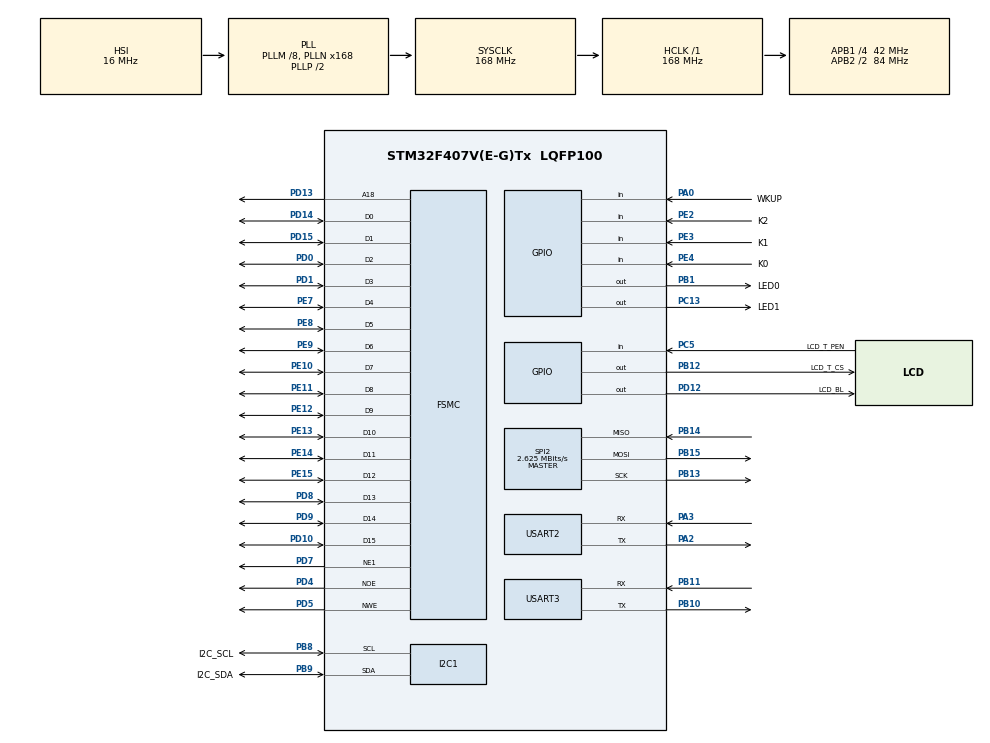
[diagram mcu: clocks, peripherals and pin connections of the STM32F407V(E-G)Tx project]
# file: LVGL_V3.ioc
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FSMC.AddressSetupTime1=15
FSMC.BusTurnAroundDuration1=0
FSMC.DataSetupTime1=60
FSMC.ExtendedAddressSetupTime1=9
FSMC.ExtendedBusTurnAroundDuration1=0
FSMC.ExtendedDataSetupTime1=8
FSMC.ExtendedMode1=FSMC_EXTENDED_MODE_ENABLE
Mcu.Family=STM32F4
Mcu.Name=STM32F407V(E-G)Tx
Mcu.Package=LQFP100
NVIC.PriorityGroup=NVIC_PRIORITYGROUP_4
NVIC.TIM6_DAC_IRQn=true\:0\:0\:false\:false\:true\:true\:true
NVIC.USART2_IRQn=true\:1\:0\:true\:false\:true\:true\:true
PA0-WKUP.GPIO_Label=WKUP
PA0-WKUP.GPIO_PuPd=GPIO_PULLDOWN
PA0-WKUP.Signal=GPIO_Input
PA13.Mode=Serial_Wire
PA13.Signal=SYS_JTMS-SWDIO
PA14.Mode=Serial_Wire
PA14.Signal=SYS_JTCK-SWCLK
PA2.Mode=Asynchronous
PA2.Signal=USART2_TX
PA3.Mode=Asynchronous
PA3.Signal=USART2_RX
PB1.GPIO_Label=LED0
PB1.GPIO_PuPd=GPIO_PULLUP
PB1.GPIO_Speed=GPIO_SPEED_FREQ_HIGH
PB1.Signal=GPIO_Output
PB10.Mode=Asynchronous
PB10.Signal=USART3_TX
PB11.Mode=Asynchronous
PB11.Signal=USART3_RX
PB12.GPIO_Label=LCD_T_CS
PB12.GPIO_PuPd=GPIO_PULLUP
PB12.GPIO_Speed=GPIO_SPEED_FREQ_HIGH
PB12.PinState=GPIO_PIN_SET
PB12.Signal=GPIO_Output
PB13.GPIO_PuPd=GPIO_PULLUP
PB13.Mode=Full_Duplex_Master
PB13.Signal=SPI2_SCK
PB14.GPIO_PuPd=GPIO_PULLUP
PB14.Mode=Full_Duplex_Master
PB14.Signal=SPI2_MISO
PB15.GPIO_PuPd=GPIO_PULLUP
PB15.Mode=Full_Duplex_Master
PB15.Signal=SPI2_MOSI
PB8.GPIO_Label=I2C_SCL
PB8.GPIO_Pu=GPIO_PULLUP
PB8.Mode=I2C
PB8.Signal=I2C1_SCL
PB9.GPIO_Label=I2C_SDA
PB9.GPIO_Pu=GPIO_PULLUP
PB9.Mode=I2C
PB9.Signal=I2C1_SDA
PC13-ANTI_TAMP.GPIO_Label=LED1
PC13-ANTI_TAMP.GPIO_PuPd=GPIO_PULLUP
PC13-ANTI_TAMP.Signal=GPIO_Output
PC14-OSC32_IN.Mode=LSE-External-Oscillator
PC14-OSC32_IN.Signal=RCC_OSC32_IN
PC15-OSC32_OUT.Mode=LSE-External-Oscillator
PC15-OSC32_OUT.Signal=RCC_OSC32_OUT
PC5.GPIO_Label=LCD_T_PEN
PC5.GPIO_PuPd=GPIO_PULLUP
PC5.Signal=GPIO_Input
PD0.Mode=16b-d1
PD0.Signal=FSMC_D2
PD1.Mode=16b-d1
PD1.Signal=FSMC_D3
PD10.Mode=16b-d1
PD10.Signal=FSMC_D15
PD12.GPIO_Label=LCD_BL
PD12.Signal=GPIO_Output
PD13.Mode=A18_1
PD13.Signal=FSMC_A18
PD14.Mode=16b-d1
PD14.Signal=FSMC_D0
PD15.Mode=16b-d1
PD15.Signal=FSMC_D1
PD4.Mode=Lcd1
PD4.Signal=FSMC_NOE
PD5.Mode=Lcd1
PD5.Signal=FSMC_NWE
PD7.Mode=NorPsramChipSelect1_1
PD7.Signal=FSMC_NE1
PD8.Mode=16b-d1
PD8.Signal=FSMC_D13
PD9.Mode=16b-d1
PD9.Signal=FSMC_D14
PE10.Mode=16b-d1
PE10.Signal=FSMC_D7
PE11.Mode=16b-d1
PE11.Signal=FSMC_D8
PE12.Mode=16b-d1
PE12.Signal=FSMC_D9
PE13.Mode=16b-d1
PE13.Signal=FSMC_D10
PE14.Mode=16b-d1
PE14.Signal=FSMC_D11
PE15.Mode=16b-d1
PE15.Signal=FSMC_D12
PE2.GPIO_Label=K2
PE2.GPIO_PuPd=GPIO_PULLUP
PE2.Signal=GPIO_Input
PE3.GPIO_Label=K1
PE3.GPIO_PuPd=GPIO_PULLUP
PE3.Signal=GPIO_Input
PE4.GPIO_Label=K0
PE4.GPIO_PuPd=GPIO_PULLUP
PE4.Signal=GPIO_Input
PE7.Mode=16b-d1
PE7.Signal=FSMC_D4
PE8.Mode=16b-d1
PE8.Signal=FSMC_D5
PE9.Mode=16b-d1
PE9.Signal=FSMC_D6
PH0-OSC_IN.Mode=HSE-External-Oscillator
PH0-OSC_IN.Signal=RCC_OSC_IN
PH1-OSC_OUT.Mode=HSE-External-Oscillator
PH1-OSC_OUT.Signal=RCC_OSC_OUT
ProjectManager.HeapSize=0x1000
ProjectManager.StackSize=0x1000
ProjectManager.TargetToolchain=MDK-ARM V5
RCC.48MHZClocksFreq_Value=84000000
RCC.AHBFreq_Value=168000000
RCC.APB1CLKDivider=RCC_HCLK_DIV4
RCC.APB1Freq_Value=42000000
RCC.APB1TimFreq_Value=84000000
RCC.APB2CLKDivider=RCC_HCLK_DIV2
RCC.APB2Freq_Value=84000000
RCC.APB2TimFreq_Value=168000000
RCC.CortexFreq_Value=168000000
RCC.HCLKFreq_Value=168000000
RCC.HSE_VALUE=25000000
RCC.HSI_VALUE=16000000
RCC.PLLM=8
RCC.PLLN=168
RCC.RCC_RTC_Clock_Source=RCC_RTCCLKSOURCE_LSE
RCC.SYSCLKFreq_VALUE=168000000
RCC.SYSCLKSource=RCC_SYSCLKSOURCE_PLLCLK
RCC.VCOOutputFreq_Value=336000000
RTC.Date=15
RTC.Format=RTC_FORMAT_BIN
RTC.Hours=18
RTC.Minutes=20
RTC.Month=RTC_MONTH_JULY
RTC.WeekDay=RTC_WEEKDAY_TUESDAY
RTC.Year=25
SPI2.BaudRatePrescaler=SPI_BAUDRATEPRESCALER_16
SPI2.CalculateBaudRate=2.625 MBits/s
SPI2.Direction=SPI_DIRECTION_2LINES
SPI2.Mode=SPI_MODE_MASTER
SPI2.VirtualType=VM_MASTER
TIM6.AutoReloadPreload=TIM_AUTORELOAD_PRELOAD_ENABLE
TIM6.Period=1000-1
TIM6.Prescaler=84
USART2.VirtualMode=VM_ASYNC
USART3.VirtualMode=VM_ASYNC
VP_RTC_VS_RTC_Activate.Mode=RTC_Enabled
VP_RTC_VS_RTC_Calendar.Mode=RTC_Calendar
VP_TIM6_VS_ClockSourceINT.Mode=Enable_Timer
board=custom

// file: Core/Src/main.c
/* USER CODE BEGIN Header */
/**
  ******************************************************************************
  * @file           : main.c
  * @brief          : Main program body
  ******************************************************************************
  * @attention
  *
  * Copyright (c) 2025 STMicroelectronics.
  * All rights reserved.
  *
  * This software is licensed under terms that can be found in the LICENSE file
  * in the root directory of this software component.
  * If no LICENSE file comes with this software, it is provided AS-IS.
  *
  ******************************************************************************
  */
/* USER CODE END Header */
#include "main.h"
#include "i2c.h"
#include "rtc.h"
#include "spi.h"
#include "tim.h"
#include "usart.h"
#include "gpio.h"
#include "fsmc.h"

/* USER CODE BEGIN Includes */
#include "stdio.h"
#include "lcd.h"
#include "touch.h"

#include "esp.h"
#include "gui_guider.h"          // Gui Guider 生成的界面和控件的声明
#include "events_init.h"         // Gui Guider 生成的初始化事件、回调函数
lv_ui  guider_ui;                // 声明 界面对象
/* USER CODE END Includes */

void SystemClock_Config(void);

/* USER CODE BEGIN 0 */
void Set_RTC_DateTime(uint8_t hours, uint8_t mins, uint8_t secs,
                     uint16_t year, uint8_t month, uint8_t day, uint8_t weekday)
{
    RTC_TimeTypeDef sTime = {0};
    RTC_DateTypeDef sDate = {0};

    // 禁用备份域写保护
    HAL_PWR_EnableBkUpAccess();

    // 设置时间
    sTime.Hours = hours;
    sTime.Minutes = mins;
    sTime.Seconds = secs;
    sTime.TimeFormat = RTC_HOURFORMAT_24;
    sTime.DayLightSaving = RTC_DAYLIGHTSAVING_NONE;
    sTime.StoreOperation = RTC_STOREOPERATION_RESET;

    if (HAL_RTC_SetTime(&hrtc, &sTime, RTC_FORMAT_BIN) != HAL_OK) {
        Error_Handler();
    }

    // 设置日期
    sDate.Year = year - 2000;
    sDate.Month = month;
    sDate.Date = day;
		weekday = weekday == 0 ? 7 : weekday;
    sDate.WeekDay = weekday;  // 自动计算

    if (HAL_RTC_SetDate(&hrtc, &sDate, RTC_FORMAT_BIN) != HAL_OK) {
        Error_Handler();
    }

    // 重新启用写保护
    HAL_PWR_DisableBkUpAccess();
}

// 获取并打印当前RTC时间和日期
void Print_RTC_DateTime(void)
{
    RTC_TimeTypeDef sTime = {0};
    RTC_DateTypeDef sDate = {0};
    char *weekday[] = {"", "Monday", "Tuesday", "Wednesday", "Thursday", "Friday", "Saturday", "Sunday"};

    // 获取时间
    HAL_RTC_GetTime(&hrtc, &sTime, RTC_FORMAT_BIN);
    // 获取日期
    HAL_RTC_GetDate(&hrtc, &sDate, RTC_FORMAT_BIN);

		char str[128];
    // 打印日期和时间 "%02d:%02d:%02d   July"
    sprintf(str, "%02d:%02d:%02d   July",
           sTime.Hours, sTime.Minutes, sTime.Seconds);
		lv_label_set_text(guider_ui.screen_label_2, str);
		char str1[128];
    // 打印日期和时间 "2025年7月15日"
//    sprintf(str1, "20%02d年%02d月%02d日",
//           sDate.Year, sDate.Month, sDate.Date);
//		lv_label_set_text(guider_ui.screen_label_8, str1);
		// ui_update_time_info(str);
}
/*
for循环实现延时us
*/
void for_delay_us(uint32_t nus)
{
    uint32_t Delay = nus * 168/4;
    do
    {
        __NOP();
    }
    while (Delay --);
}

static const char *wifi_ssid = "RK50U";
static const char *wifi_password = "12345678";
static const char *weather_uri = "https://api.seniverse.com/v3/weather/now.json?key=SZuZdJEYI7cY_ghfz&location=xian&language=en&unit=c";
static const char *time_uri = "https://time.akamai.com/";
/* USER CODE END 0 */

int main(void)
{

  /* MCU Configuration--------------------------------------------------------*/

  /* Reset of all peripherals, Initializes the Flash interface and the Systick. */
  HAL_Init();

  /* Configure the system clock */
  SystemClock_Config();

  /* Initialize all configured peripherals */
  MX_GPIO_Init();
  MX_USART2_UART_Init();
  MX_FSMC_Init();
  MX_SPI2_Init();
  MX_I2C1_Init();
  MX_TIM6_Init();
  MX_USART3_UART_Init();
  MX_RTC_Init();
  /* USER CODE BEGIN 2 */
	// LCD 触摸屏初始化
	lcd_init();
	g_point_color = RED;
  tp_dev.init();

	// LVGL初始化
	lv_init();                             // LVGL 初始化
	lv_port_disp_init();                   // 注册LVGL的显示任务
	lv_port_indev_init();                  // 注册LVGL的触屏检测任务

	// 开启LVGL时钟
	HAL_TIM_Base_Start_IT(&htim6);

	setup_ui(&guider_ui);
	events_init(&guider_ui);

	if (!esp_at_init())
	{
			while (1);
	}
	HAL_Delay(500);
	if (!esp_at_wifi_init())
	{
			while (1);
	}
	HAL_Delay(500);
	if (!esp_at_wifi_connect(wifi_ssid, wifi_password))
	{
			while (1);
	}
	bool weather_ok = false;
	bool sntp_ok = false;
	uint32_t t = 0;

  /* USER CODE END 2 */

  /* Infinite loop */
  /* USER CODE BEGIN WHILE */
	rtc_date_t date;
  while (1)
  {
    /* USER CODE END WHILE */

    /* USER CODE BEGIN 3 */
		lv_task_handler();    // LVGL 内部任务处理
		HAL_Delay(5);

		t++;
		// 优化：① 减少主程序中断，使用定时器中断更新时间，否则按键检测不灵
		// 优化：② 封装函数功能，按键触发时调用更新天气和时间，目前是触发更新图片，只需在events_init.c中编写回调函数即可
		// 优化：③ 串口中断获取天气时间，容易数据丢失或者乱码，改用串口DMA+环形缓冲区接收数据，或者串口DMA+双 环形缓冲区
		// 优化：④ 能不占用主循环程序的尽量挪到DMA 定时器 等
		// 优化：⑤ 程序整体移植到FreeRTOS中
    HAL_Delay(1000);

		/* BUG:如果设置为20和10，则在20s时两个会同时触发，中断来不及处理，就会无限乱码 */
		if (!weather_ok || t % 60 == 0)
		{
				const char *rsp;
				weather_ok = esp_at_http_get(weather_uri, &rsp, NULL, 10000);
				weather_t weather;

				weather_parse(rsp, &weather);

				memset(rxdata,0x00,sizeof(rxdata)); //清空数组ERROR
				// ui_update_weather_info(&weather);

		}
		if (!sntp_ok || t % 3600 == 0)
		{
				const char *rsp1;
				sntp_ok = esp_at_http_get(time_uri, &rsp1, NULL, 10000);
				const char *comma_pos = strrchr(rsp1, ','); // 找到最后一个逗号的位置
				const char *number;
				if (comma_pos != NULL) {
						number = comma_pos + 1; // 跳过逗号
				}
				uint32_t UnixTime = atoi(number);
        ts_to_date(UnixTime + 8 * 60 * 60, &date);
				HAL_Delay(500);
				Set_RTC_DateTime(date.hour, date.minute, date.second + 1, date.year, date.month, date.day, date.weekday);
		}

		Print_RTC_DateTime();
  }
  /* USER CODE END 3 */
}

void SystemClock_Config(void)
{
  RCC_OscInitTypeDef RCC_OscInitStruct = {0};
  RCC_ClkInitTypeDef RCC_ClkInitStruct = {0};

  /** Configure the main internal regulator output voltage
  */
  __HAL_RCC_PWR_CLK_ENABLE();
  __HAL_PWR_VOLTAGESCALING_CONFIG(PWR_REGULATOR_VOLTAGE_SCALE1);
  /** Initializes the RCC Oscillators according to the specified parameters
  * in the RCC_OscInitTypeDef structure.
  */
  RCC_OscInitStruct.OscillatorType = RCC_OSCILLATORTYPE_HSI|RCC_OSCILLATORTYPE_LSE;
  RCC_OscInitStruct.LSEState = RCC_LSE_ON;
  RCC_OscInitStruct.HSIState = RCC_HSI_ON;
  RCC_OscInitStruct.HSICalibrationValue = RCC_HSICALIBRATION_DEFAULT;
  RCC_OscInitStruct.PLL.PLLState = RCC_PLL_ON;
  RCC_OscInitStruct.PLL.PLLSource = RCC_PLLSOURCE_HSI;
  RCC_OscInitStruct.PLL.PLLM = 8;
  RCC_OscInitStruct.PLL.PLLN = 168;
  RCC_OscInitStruct.PLL.PLLP = RCC_PLLP_DIV2;
  RCC_OscInitStruct.PLL.PLLQ = 4;
  if (HAL_RCC_OscConfig(&RCC_OscInitStruct) != HAL_OK)
  {
    Error_Handler();
  }
  /** Initializes the CPU, AHB and APB buses clocks
  */
  RCC_ClkInitStruct.ClockType = RCC_CLOCKTYPE_HCLK|RCC_CLOCKTYPE_SYSCLK
                              |RCC_CLOCKTYPE_PCLK1|RCC_CLOCKTYPE_PCLK2;
  RCC_ClkInitStruct.SYSCLKSource = RCC_SYSCLKSOURCE_PLLCLK;
  RCC_ClkInitStruct.AHBCLKDivider = RCC_SYSCLK_DIV1;
  RCC_ClkInitStruct.APB1CLKDivider = RCC_HCLK_DIV4;
  RCC_ClkInitStruct.APB2CLKDivider = RCC_HCLK_DIV2;

  if (HAL_RCC_ClockConfig(&RCC_ClkInitStruct, FLASH_LATENCY_5) != HAL_OK)
  {
    Error_Handler();
  }
}

/* USER CODE BEGIN 4 */
/************************************************************************************
 * @brief       HAL_TIM_PeriodElapsedCallback
 * @note        TIM6回调函数
 *							为LVGL提供1ms的心跳周期，若定时器设置为2ms溢出中断，则lv_tick_inc(2);
 * @param       TIM_HandleTypeDef *htim
 * @retval      无
*************************************************************************************/
void HAL_TIM_PeriodElapsedCallback(TIM_HandleTypeDef *htim)
{
	if (htim->Instance == TIM6) // 判断中断来自TIM6
	{
		lv_tick_inc(1); // 给LVGL提供1ms心跳的心跳周期
		static uint16_t LedTimes = 0;  // LED闪烁计时
		if (LedTimes++ >= 500) //500ms执行一次LED闪烁
		{
			HAL_GPIO_TogglePin(LED1_GPIO_Port,LED1_Pin);
			LedTimes = 0;
		}
	}
}

/* USER CODE END 4 */

void Error_Handler(void)
{
  __disable_irq();
  while (1)
  {
  }
}
